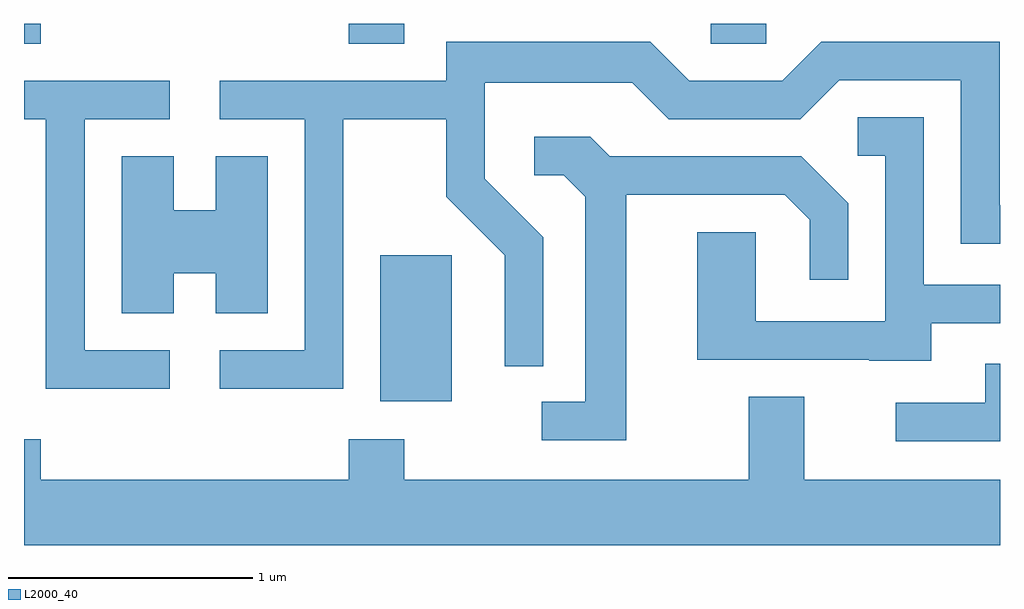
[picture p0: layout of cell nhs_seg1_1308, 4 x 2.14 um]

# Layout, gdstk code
import gdstk
lib = gdstk.Library(unit=1e-6, precision=1e-09)
def R(c, l, rs):  # rectangles x0, y0, x1, y1
    for r in rs: c.add(gdstk.rectangle(r[:2], r[2:], *l))
def P(c, l, *ps):  # polygons
    for p in ps: c.add(gdstk.Polygon(p, *l))
L2000_40 = (2000, 40)

nhs_seg1_1308 = lib.new_cell('nhs_seg1_1308')
R(nhs_seg1_1308, L2000_40, [(227.071,900.166,227.364,900.764), (225.611,901.631,225.679,901.712), (226.941,901.631,227.169,901.712), (228.426,901.631,228.654,901.712)])
P(nhs_seg1_1308, L2000_40, [(226.919,901.321),(227.341,901.321),(227.341,901.004),(227.581,900.764),(227.581,900.308),(227.739,900.308),(227.739,900.837),(227.499,901.077),(227.499,901.471),(228.104,901.471),(228.254,901.321),(228.792,901.321),(228.952,901.481),(229.451,901.481),(229.451,900.811),(229.611,900.811),(229.611,900.969),(229.609,900.969),(229.609,901.639),(228.879,901.639),(228.719,901.479),(228.337,901.479),(228.177,901.639),(227.341,901.639),(227.341,901.479),(226.413,901.479),(226.413,901.321),(226.761,901.321),(226.761,900.374),(226.413,900.374),(226.413,900.216),(226.919,900.216)],
  [(226.208,900.374),(225.859,900.374),(225.859,901.321),(226.208,901.321),(226.208,901.479),(225.611,901.479),(225.611,901.321),(225.701,901.321),(225.701,900.216),(226.208,900.216)],
  [(229.329,900.486),(229.611,900.486),(229.611,900.644),(229.299,900.644),(229.299,901.329),(229.028,901.329),(229.028,901.171),(229.141,901.171),(229.141,900.494),(228.609,900.494),(228.609,900.859),(228.371,900.859),(228.371,900.336),(229.075,900.336),(229.075,900.331),(229.329,900.331)],
  [(228.079,901.011),(228.729,901.011),(228.831,900.909),(228.831,900.663),(228.989,900.663),(228.989,900.977),(228.797,901.169),(228.012,901.169),(227.932,901.249),(227.703,901.249),(227.703,901.091),(227.824,901.091),(227.911,901.004),(227.911,900.164),(227.733,900.164),(227.733,900.006),(228.079,900.006)],
  [(226.224,900.691),(226.396,900.691),(226.396,900.526),(226.609,900.526),(226.609,901.169),(226.396,901.169),(226.396,900.949),(226.224,900.949),(226.224,901.169),(226.011,901.169),(226.011,900.526),(226.224,900.526)],
  [(229.611,900.319),(229.551,900.319),(229.551,900.159),(229.183,900.159),(229.183,900.001),(229.611,900.001)],
  [(226.941,900.009),(226.941,899.844),(225.679,899.844),(225.679,900.009),(225.611,900.009),(225.611,899.576),(229.611,899.576),(229.611,899.844),(228.809,899.844),(228.809,900.184),(228.581,900.184),(228.581,899.844),(227.169,899.844),(227.169,900.009)])

lib.write_gds('nhs_seg1_1308.gds')
